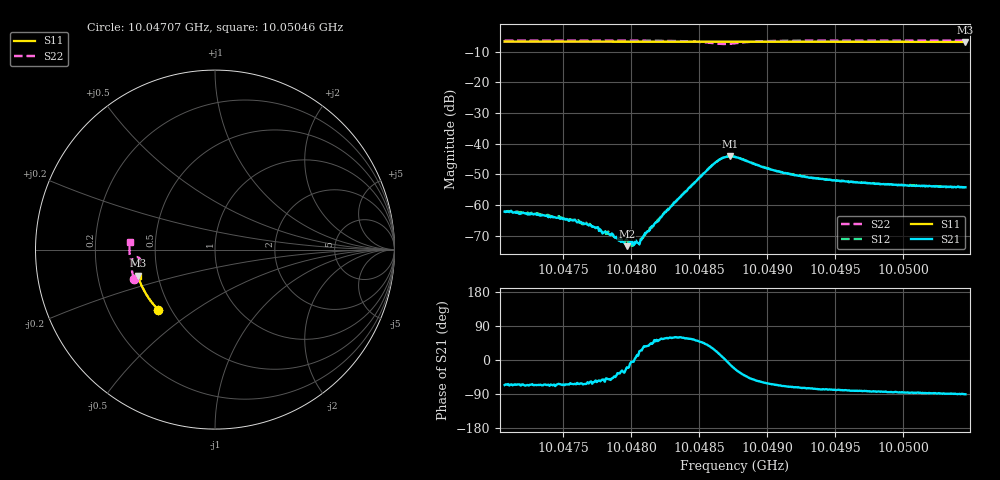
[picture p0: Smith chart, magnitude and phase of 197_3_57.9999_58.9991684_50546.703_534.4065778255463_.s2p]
#  HZ  S  RI  R  50.00
! Rohde & Schwarz Vector Network Analyzer
! Rohde-Schwarz,ZNB20-2Port,1311601062101988,3.16
! Created: UTC 3/21/2024, 12:59:06 AM
! freq[Hz]  re:S11  im:S11  re:S21  im:S21  re:S12  im:S12  re:S22  im:S22
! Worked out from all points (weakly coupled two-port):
!   401 points, 10.04707 GHz to 10.05046 GHz, reference 50 ohm
!   highest |S21| = -44.14 dB at 10.04873 GHz (marker M1); lowest = -73.4 dB at 10.04797 GHz (marker M2)
!   lowest |S11| = -6.9 dB at 10.05046 GHz (marker M3), VSWR 2.67, Z = 19.2 - j7.04 ohm
!   |S11| at or under -10 dB: nowhere
!   |S22| runs from -7.5 to -6.4 dB; largest |S21 - S12| = 0.00042
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1.0047068e10  -0.316 -0.335  0.000319 -0.000717  0.000379 -0.0007  -0.4506 -0.1636
1.0047305e10  -0.327 -0.3236  0.000278 -0.000635  0.000341 -0.000656  -0.4554 -0.1479
1.0047593e10  -0.3395 -0.3093  0.000241 -0.000494  0.000271 -0.000465  -0.4605 -0.128
1.0047635e10  -0.3416 -0.3072  0.000237 -0.000445  0.00027 -0.000414  -0.4611 -0.125
1.0047678e10  -0.3434 -0.3051  0.000253 -0.000416  0.000249 -0.000409  -0.4618 -0.122
1.0047737e10  -0.3458 -0.302  0.00025 -0.000345  0.000244 -0.000345  -0.4627 -0.1179
1.0047779e10  -0.3475 -0.3  0.000224 -0.000304  0.000242 -0.000296  -0.4633 -0.1147
1.0047847e10  -0.3503 -0.2963  0.000196 -0.000257  0.000227 -0.000241  -0.4641 -0.1095
1.0047898e10  -0.3523 -0.2935  0.000239 -0.000165  0.00023 -0.000162  -0.4646 -0.1057
1.0047966e10  -0.3553 -0.2901  0.000202 -7.16e-05  0.00027 -6.8e-05  -0.4652 -0.1004
1.0048008e10  -0.3568 -0.2877  0.000253 -2.16e-05  0.000216 1.6e-05  -0.4657 -0.0969
1.0048059e10  -0.3588 -0.2851  0.000211 8.95e-05  0.000252 0.00012  -0.4659 -0.0926
1.0048101e10  -0.3606 -0.283  0.000285 0.000205  0.000267 0.000201  -0.4662 -0.0891
1.0048203e10  -0.3645 -0.2775  0.000347 0.00045  0.00034 0.000488  -0.4661 -0.0798
1.0048593e10  -0.3785 -0.256  0.00374 0.00234  0.00362 0.0026  -0.4341 -0.0417
1.004866e10  -0.3808 -0.2523  0.00559 0.00112  0.00554 0.00147  -0.4183 -0.0516
1.0048728e10  -0.3829 -0.2487  0.00605 -0.00139  0.00618 -0.000998  -0.4177 -0.0721
1.0048762e10  -0.3843 -0.2468  0.00554 -0.00244  0.00575 -0.00209  -0.4242 -0.0795
1.0049059e10  -0.3943 -0.2302  0.00149 -0.0033  0.0017 -0.00322  -0.4663 -0.0626
1.004933e10  -0.4028 -0.2141  0.000711 -0.00267  0.000859 -0.00263  -0.4736 -0.0379
1.0049897e10  -0.4181 -0.1802  0.000212 -0.00215  0.000375 -0.00214  -0.4766 0.00522
1.0050456e10  -0.4304 -0.1455  -1.41e-05 -0.00195  0.000118 -0.00195  -0.4744 0.0438
